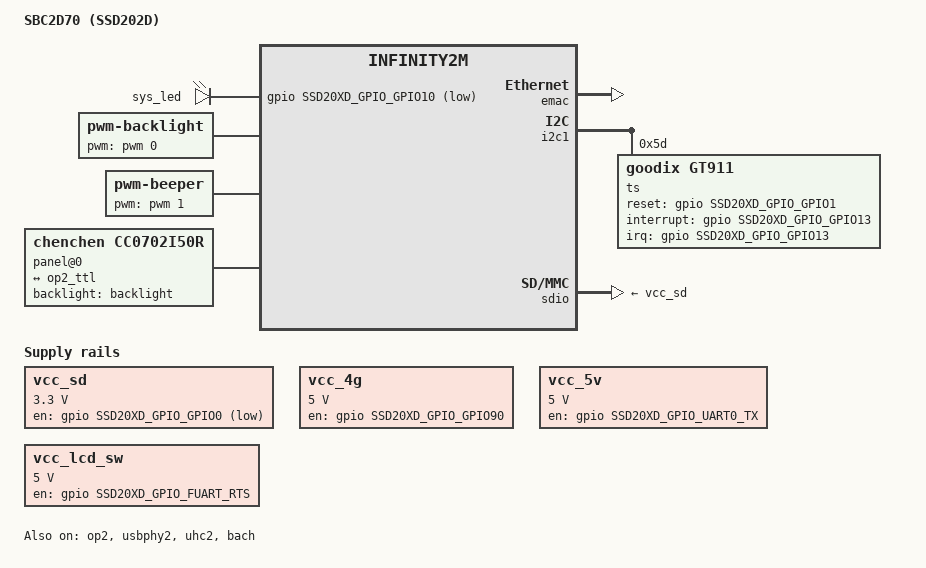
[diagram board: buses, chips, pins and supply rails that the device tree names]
// SPDX-License-Identifier: GPL-2.0-or-later
/*
 * Copyright (c) 2020 thingy.jp.
 * Author: Daniel Palmer <daniel@thingy.jp>
 */

/dts-v1/;
#include "mstar-infinity2m-ssd202d-wirelesstag-ido-som2d01.dtsi"

/ {
	model = "SBC2D70 (SSD202D)";
	compatible = "ido,sbc2d70", "mstar,infinity2m";

	chosen {
		bootargs = "console=ttyS0,115200 clk_ignore_unused earlyprintk root=/dev/sda1 rw rootwait";
	};

	leds {
		compatible = "gpio-leds";
		sys_led {
			gpios = <&gpio SSD20XD_GPIO_GPIO10 GPIO_ACTIVE_LOW>;
			linux,default-trigger = "activity";
		};
	};

	backlight: backlight {
		compatible = "pwm-backlight";
		pwms = <&pwm 0 50000>;
		brightness-levels = <0 4 8 16 32 64 128 255>;
		default-brightness-level = <6>;
	};

	beeper {
		compatible = "pwm-beeper";
		pinctrl-names = "default";
	        pinctrl-0 = <&pwm1_mode4_pins>;
		pwms = <&pwm 1 1000000>;
	};
/*
	vcc_vbus: regulator@2 {
		compatible = "regulator-fixed";
		regulator-name = "vcc_vbus";
		regulator-type = "voltage";
		regulator-min-microvolt = <5000000>;
		regulator-max-microvolt = <5000000>;
		gpios = <&gpio SSD20XD_GPIO_GPIO47 0>;
		enable-active-high;
	};
*/

	vcc_sd: regulator@3 {
		compatible = "regulator-fixed";
		regulator-name = "vcc_sd";
		regulator-type = "voltage";
		regulator-min-microvolt = <3300000>;
		regulator-max-microvolt = <3300000>;
		gpios = <&gpio SSD20XD_GPIO_GPIO0 0>;
	};

	vcc_4g: regulator@4 {
		compatible = "regulator-fixed";
		regulator-name = "vcc_4g";
		regulator-type = "voltage";
		regulator-min-microvolt = <5000000>;
		regulator-max-microvolt = <5000000>;
		gpios = <&gpio SSD20XD_GPIO_GPIO90 0>;
		enable-active-high;
	};

	vcc_5v: regulator@5 {
		compatible = "regulator-fixed";
		regulator-name = "vcc_5v";
		regulator-type = "voltage";
		regulator-min-microvolt = <5000000>;
		regulator-max-microvolt = <5000000>;
		gpios = <&gpio SSD20XD_GPIO_UART0_TX 0>;
		enable-active-high;
		regulator-always-on;
	};

	vcc_lcd_sw: regulator-lcd-sw {
		compatible = "regulator-fixed";
		regulator-name = "vcc_5v";
		regulator-type = "voltage";
		regulator-min-microvolt = <5000000>;
		regulator-max-microvolt = <5000000>;
		gpios = <&gpio SSD20XD_GPIO_FUART_RTS 0>;
		enable-active-high;
		regulator-always-on;
	};

	panel@0 {
		compatible = "chenchen,cc0702i50r";
		reg = <0>;
		pinctrl-names = "default";
		pinctrl-0 = <&ttl_mode1_pins>;
		backlight = <&backlight>;
		port {
			panel_in: endpoint {
				remote-endpoint = <&op2_ttl>;
			};
		};
	};

#if 0
	speaker_amp: audio-amplifier {
		compatible = "simple-audio-amplifier";
		enable-gpios = <&gpio SSD20XD_GPIO_GPIO14 GPIO_ACTIVE_HIGH>;
		sound-name-prefix = "Speaker Amp";
		VCC-supply = <&vcc_5v>;
	};
#endif
};

&emac {
	pinctrl-names = "default";
	pinctrl-0 = <&emac_mode1_pins>, <&pm_led_mode1_pins>;
	status = "okay";
};

&i2c1 {
	pinctrl-names = "default";
	pinctrl-0 = <&i2c1_mode1_pins>;
	status = "okay";

	ts@4b {
		compatible = "ti,tsc2007";
		reg = <0x4b>;
		status = "disabled";
	};

	ts@5d {
		compatible = "goodix,gt911";
		reg = <0x5d>;
		interrupts-extended = <&gpio SSD20XD_GPIO_GPIO13 IRQ_TYPE_EDGE_FALLING>;
		reset-gpios = <&gpio SSD20XD_GPIO_GPIO1 GPIO_ACTIVE_HIGH>;
		interrupt-gpios = <&gpio SSD20XD_GPIO_GPIO13 GPIO_ACTIVE_HIGH>;
	};
};

&sdio {
	vmmc-supply = <&vcc_sd>;
	pinctrl-0 = <&sdio_mode1_8ma_pins>;
	status = "okay";
};

&pwm {
	pinctrl-names = "default";
        pinctrl-0 = <&pwm0_mode3_pins>;
};

&display {
	ports = <&mopg>,<&mops>,<&gop0>,<&gop1>,<&op2>,<&displaytop>;
};

&op2 {
	mstar,op2-channelswap = /bits/ 8 <0x3 0x2 0x1>;
	assigned-clocks = <&clkgen MSC313_CLKGEN_MUXES SSD20XD_CLKGEN_SC_PIXEL 0>,
			  <&sc_gp_ctrl_muxes SSD20XD_SC_GP_HDMI_GATE_MUX>;
	assigned-clock-parents = <&clkgen MSC313_CLKGEN_DIVIDERS MSC313_CLKGEN_GATE_9 GATE9_DIVIDEBY_4>,
				 <&clkgen MSC313_CLKGEN_DEGLITCHES SSD20XD_CLKGEN_SC_PIXEL 0>;
	status = "okay";
};

&op2_ttl {
	remote-endpoint = <&panel_in>;
};

&usbphy2 {
	//vbus-supply = <&vcc_vbus>;
	status = "okay";
};

&uhc2 {
	status = "okay";
};

&bach {
	//audio-aux-devs = <&speaker_amp>;
	status = "okay";
};

&vpu {
	//status = "okay";
};

&ubi {
	reg = <0x2c0000 0xFD40000>;
};
